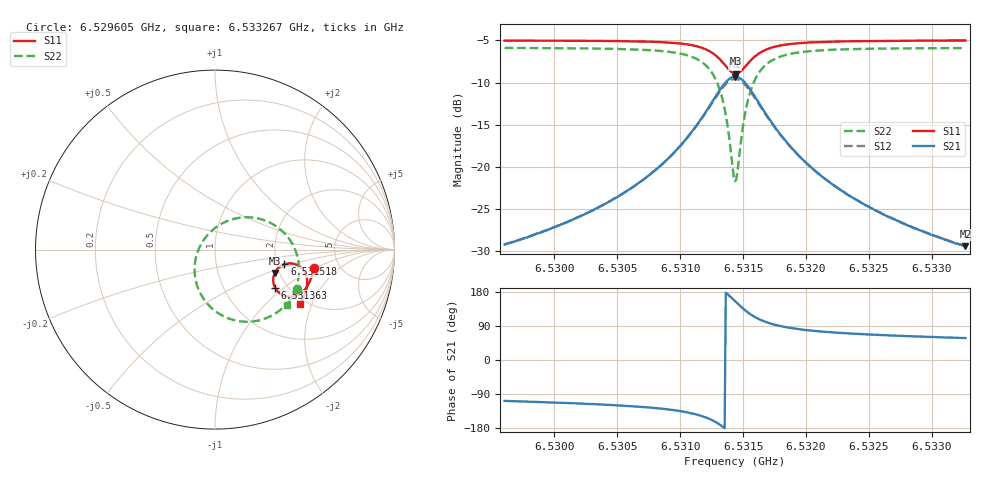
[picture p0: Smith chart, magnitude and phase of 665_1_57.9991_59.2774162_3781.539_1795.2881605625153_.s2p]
#  HZ  S  RI  R  50.00
! Rohde & Schwarz Vector Network Analyzer
! Rohde-Schwarz,ZNB20-2Port,1311601062101988,3.16
! Created: UTC 3/21/2024, 1:20:07 AM
! freq[Hz]  re:S11  im:S11  re:S21  im:S21  re:S12  im:S12  re:S22  im:S22
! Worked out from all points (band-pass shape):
!   401 points, 6.529605 GHz to 6.533267 GHz, reference 50 ohm
!   highest |S21| = -9.29 dB at 6.531436 GHz (marker M1); lowest = -29.4 dB at 6.533267 GHz (marker M2)
!   |S21| within 3 dB of the highest: 6.531254 GHz to 6.531621 GHz (366.6 kHz wide, 0.00561 % of centre)
!   lowest |S11| = -8.9 dB at 6.531445 GHz (marker M3), VSWR 2.11, Z = 94.4 - j28.2 ohm
!   |S11| at or under -10 dB: nowhere
!   |S22| runs from -21.7 to -5.9 dB; largest |S21 - S12| = 0.014
!   S11 on the Smith chart (normalised r, x): 6.529605 GHz: 3.24, -0.95; 6.531363 GHz: 1.73, -0.87; 6.531518 GHz: 2.20, -0.43; 6.533267 GHz: 1.84, -1.64
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6.5296048e9  0.5512 -0.101  -0.0107 -0.033  -0.0115 -0.0329  0.4579 -0.2182
6.5302182e9  0.5377 -0.1531  -0.0219 -0.0468  -0.023 -0.0462  0.4218 -0.2765
6.530557e9  0.5244 -0.1859  -0.0359 -0.0606  -0.0377 -0.0597  0.3849 -0.3178
6.5308317e9  0.505 -0.2172  -0.0613 -0.079  -0.0636 -0.0771  0.3287 -0.3604
6.5310423e9  0.4745 -0.2457  -0.1065 -0.0985  -0.1095 -0.0944  0.2385 -0.3957
6.5312071e9  0.4214 -0.2625  -0.1891 -0.1005  -0.1909 -0.0922  0.0891 -0.3881
6.5312986e9  0.3708 -0.2496  -0.2668 -0.0616  -0.264 -0.0502  -0.0371 -0.3076
6.5313353e9  0.3489 -0.232  -0.2989 -0.0252  -0.2926 -0.0134  -0.0837 -0.2399
6.5313627e9  0.3349 -0.212  -0.3176 0.013  -0.3085 0.0235  -0.1072 -0.1731
6.5314177e9  0.325 -0.1585  -0.3233 0.1093  -0.3101 0.1144  -0.0976 -0.0144
6.531436e9  0.3293 -0.1396  -0.3125 0.1423  -0.2988 0.1449  -0.0737 0.0372
6.5314451e9  0.333 -0.1304  -0.3044 0.1579  -0.291 0.1594  -0.0578 0.0609
6.5314635e9  0.343 -0.1137  -0.2844 0.1862  -0.2718 0.1853  -0.0203 0.1032
6.5315184e9  0.3863 -0.082  -0.2048 0.2384  -0.1965 0.2337  0.119 0.1745
6.5315459e9  0.4094 -0.077  -0.164 0.2461  -0.158 0.241  0.1876 0.1801
6.5315825e9  0.4367 -0.0789  -0.1169 0.2429  -0.113 0.2385  0.2661 0.1665
6.5316741e9  0.4817 -0.1026  -0.0406 0.2064  -0.0391 0.2041  0.3888 0.0893
6.5318114e9  0.5073 -0.1421  0.00381 0.1511  0.00513 0.1502  0.4541 -0.0205
6.5320495e9  0.5136 -0.1898  0.0214 0.0959  0.0227 0.0956  0.4682 -0.1323
6.5323333e9  0.5072 -0.2266  0.0232 0.0644  0.0242 0.0642  0.4553 -0.2026
6.5326629e9  0.4956 -0.2586  0.0214 0.0457  0.0223 0.0454  0.4359 -0.2518
6.5332672e9  0.4713 -0.3055  0.0181 0.0288  0.0187 0.0284  0.401 -0.3094
